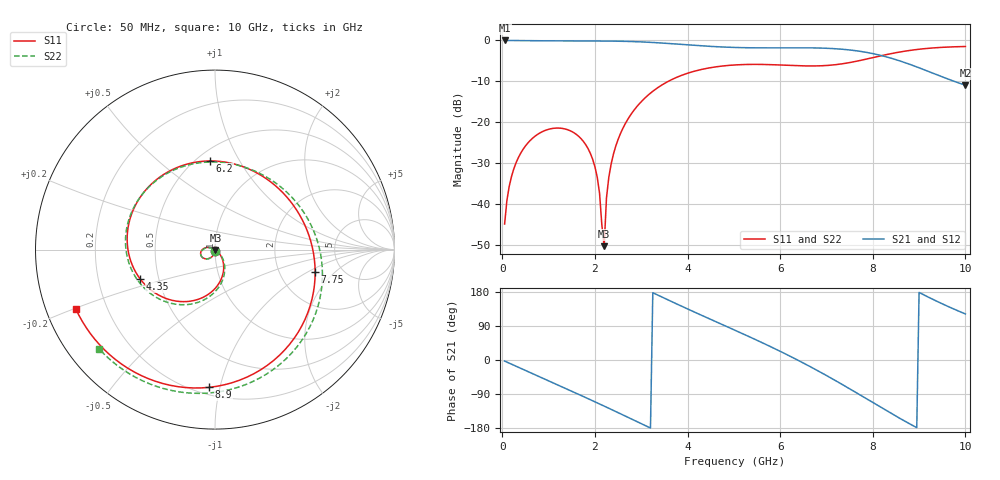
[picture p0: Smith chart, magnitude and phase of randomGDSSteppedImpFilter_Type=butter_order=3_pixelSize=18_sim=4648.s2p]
! freq	dB(S11)	phase(S11)	dB(S12)	phase(S12)
!  dB(S21)	phase(S21)	dB(S22)	phase(S22)
!S-par simulation data
#  GHz  S  DB  R 50
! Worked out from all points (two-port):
!   200 points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, 50 MHz to 10 GHz, reference 50 ohm
!   highest |S21| = -0.01 dB at 50 MHz (marker M1); lowest = -11.0 dB at 10 GHz (marker M2)
!   |S21| within 3 dB of the highest: start of sweep to 7.903 GHz
!   lowest |S11| = -50.4 dB at 2.2 GHz (marker M3), VSWR 1.01, Z = 50.3 - j0.131 ohm
!   |S11| at or under -10 dB: start of sweep to 3.587 GHz
!   |S22| runs from -49.8 to -1.4 dB; largest |S21 - S12| = 0
!   S11 on the Smith chart (normalised r, x): 50 MHz: 1.00, -0.01; 4.35 GHz: 0.39, -0.16; 6.2 GHz: 0.58, +0.76; 7.75 GHz: 3.19, -1.19; 8.9 GHz: 0.25, -0.93; 10 GHz: 0.09, -0.20
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0.05  -44.96 -90.0  -0.01 -2.8  -0.01 -2.8  -44.96 -90.0
0.15  -35.71 -97.2  -0.02 -8.3  -0.02 -8.3  -35.71 -97.0
0.25  -31.40 -103.5  -0.03 -13.8  -0.03 -13.8  -31.40 -103.2
0.6  -24.53 -123.8  -0.06 -33.1  -0.06 -33.1  -24.53 -123.1
1.2  -21.46 -157.5  -0.11 -65.9  -0.11 -65.9  -21.46 -156.0
1.75  -24.71 171.6  -0.13 -96.3  -0.13 -96.3  -24.74 174.0
2.05  -33.48 153.8  -0.13 -113.1  -0.13 -113.1  -33.57 157.6
2.2  -50.38 -25.6  -0.14 -121.6  -0.14 -121.6  -49.81 -33.8
2.25  -38.53 -34.7  -0.15 -124.5  -0.15 -124.5  -38.36 -34.7
2.3  -33.54 -38.5  -0.15 -127.3  -0.15 -127.3  -33.43 -37.2
2.5  -24.26 -50.8  -0.18 -138.8  -0.18 -138.8  -24.22 -48.3
3.4  -11.24 -104.1  -0.60 168.8  -0.60 168.8  -11.22 -99.4
4.35  -6.98 -158.4  -1.36 115.4  -1.36 115.4  -6.97 -151.2
5.05  -5.98 162.3  -1.73 77.1  -1.73 77.1  -5.97 172.1
6.2  -6.11 93.3  -1.80 10.9  -1.80 10.9  -6.11 108.9
6.7  -6.25 60.4  -1.82 -20.9  -1.82 -20.9  -6.25 78.3
7.25  -5.86 22.6  -2.08 -58.2  -2.08 -58.2  -5.87 41.4
7.75  -4.85 -12.7  -2.71 -94.0  -2.71 -94.0  -4.85 5.0
8.35  -3.34 -55.3  -4.20 -137.5  -4.20 -137.5  -3.32 -39.5
8.9  -2.29 -92.5  -6.27 -175.2  -6.27 -175.2  -2.25 -77.5
9.4  -1.76 -123.4  -8.47 154.0  -8.47 154.0  -1.70 -107.9
10  -1.48 -156.8  -10.96 121.5  -10.96 121.5  -1.41 -139.5
